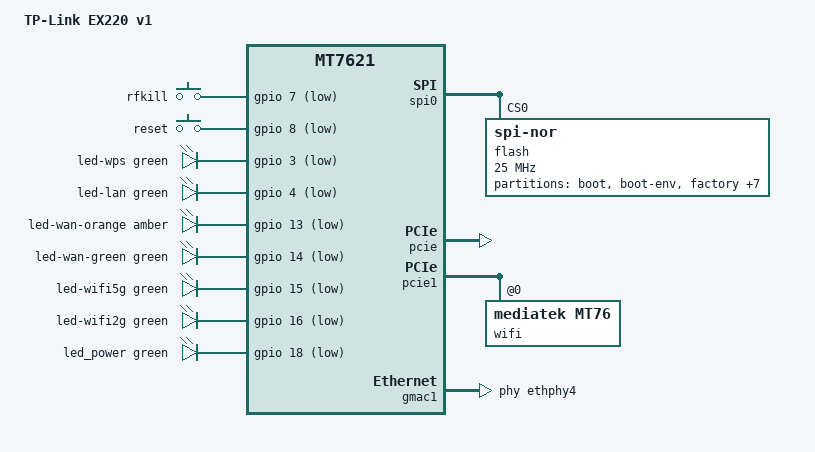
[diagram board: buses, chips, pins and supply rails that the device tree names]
// SPDX-License-Identifier: GPL-2.0-or-later OR MIT

#include "mt7621.dtsi"

#include <dt-bindings/gpio/gpio.h>
#include <dt-bindings/input/input.h>
#include <dt-bindings/leds/common.h>

/ {
	compatible = "tplink,ex220-v1", "mediatek,mt7621-soc";
	model = "TP-Link EX220 v1";

	aliases {
		led-boot = &led_power;
		led-failsafe = &led_power;
		led-running = &led_power;
		led-upgrade = &led_power;
		label-mac-device = &gmac0;
	};

	chosen {
		bootargs = "console=ttyS0,115200";
	};

	keys {
		compatible = "gpio-keys";

		button-wps {
			label = "rfkill";
			gpios = <&gpio 7 GPIO_ACTIVE_LOW>;
			linux,code = <KEY_RFKILL>;
		};

		button-reset {
			label = "reset";
			gpios = <&gpio 8 GPIO_ACTIVE_LOW>;
			linux,code = <KEY_RESTART>;
		};
	};

	leds {
		compatible = "gpio-leds";

		led-wps {
			color = <LED_COLOR_ID_GREEN>;
			function = LED_FUNCTION_WPS;
			gpios = <&gpio 3 GPIO_ACTIVE_LOW>;
		};

		led-lan {
			color = <LED_COLOR_ID_GREEN>;
			function = LED_FUNCTION_LAN;
			gpios = <&gpio 4 GPIO_ACTIVE_LOW>;
		};

		led-wan-orange {
			color = <LED_COLOR_ID_AMBER>;
			function = LED_FUNCTION_WAN;
			gpios = <&gpio 13 GPIO_ACTIVE_LOW>;
		};

		led-wan-green {
			color = <LED_COLOR_ID_GREEN>;
			function = LED_FUNCTION_WAN;
			gpios = <&gpio 14 GPIO_ACTIVE_LOW>;
		};

		led-wifi5g {
			color = <LED_COLOR_ID_GREEN>;
			function = LED_FUNCTION_WLAN;
			function-enumerator = <5>;
			gpios = <&gpio 15 GPIO_ACTIVE_LOW>;
			linux,default-trigger = "phy1tpt";
		};

		led-wifi2g {
			color = <LED_COLOR_ID_GREEN>;
			function = LED_FUNCTION_WLAN;
			function-enumerator = <2>;
			gpios = <&gpio 16 GPIO_ACTIVE_LOW>;
			linux,default-trigger = "phy0tpt";
		};

		led_power: led-power {
			color = <LED_COLOR_ID_GREEN>;
			function = LED_FUNCTION_POWER;
			gpios = <&gpio 18 GPIO_ACTIVE_LOW>;
		};
	};
};

&spi0 {
	status = "okay";

	flash@0 {
		compatible = "jedec,spi-nor";
		reg = <0>;
		spi-max-frequency = <25000000>;

		partitions {
			compatible = "fixed-partitions";
			#address-cells = <1>;
			#size-cells = <1>;

			partition@0 {
				label = "boot";
				reg = <0x00 0x30000>;
				read-only;
			};

			partition@30000 {
				label = "boot-env";
				reg = <0x30000 0x10000>;
				read-only;
			};

			partition@40000 {
				label = "factory";
				reg = <0x40000 0x10000>;
				read-only;
			};

			partition@50000 {
				label = "config";
				reg = <0x50000 0x10000>;
				read-only;
			};

			partition@60000 {
				label = "isp_config";
				reg = <0x60000 0x10000>;
				read-only;
			};

			partition@70000 {
				label = "rom_file";
				reg = <0x70000 0x10000>;
				read-only;

				nvmem-layout {
					compatible = "fixed-layout";
					#address-cells = <1>;
					#size-cells = <1>;

					macaddr_rom_file_f100: macaddr@f100 {
						compatible = "mac-base";
						reg = <0xf100 0x6>;
						#nvmem-cell-cells = <1>;
					};
				};
			};

			partition@80000 {
				label = "cloud";
				reg = <0x80000 0x10000>;
				read-only;
			};

			partition@90000 {
				label = "radio";
				reg = <0x90000 0x20000>;
				read-only;

				nvmem-layout {
					compatible = "fixed-layout";
					#address-cells = <1>;
					#size-cells = <1>;

					eeprom_radio_0: eeprom@0 {
						reg = <0x0 0xe00>;
					};

					precal_radio_e10: precal@e10 {
						reg = <0xe10 0x19c10>;
					};
				};
			};

			partition@b0000 {
				label = "config_bak";
				reg = <0xb0000 0x10000>;
				read-only;
			};

			partition@c0000 {
				compatible = "denx,fit";
				label = "firmware";
				reg = <0xc0000 0xf30000>;
			};
		};
	};
};

&pcie {
	status = "okay";
};

&pcie1 {
	wifi@0,0 {
		compatible = "mediatek,mt76";
		reg = <0x0000 0 0 0 0>;
		nvmem-cells = <&eeprom_radio_0>, <&precal_radio_e10>, <&macaddr_rom_file_f100 0>;
		nvmem-cell-names = "eeprom", "precal", "mac-address";
		mediatek,disable-radar-background;
	};
};

&gmac0 {
	nvmem-cells = <&macaddr_rom_file_f100 0>;
	nvmem-cell-names = "mac-address";
};

&gmac1 {
	status = "okay";
	label = "wan";
	phy-handle = <&ethphy4>;

	nvmem-cells = <&macaddr_rom_file_f100 1>;
	nvmem-cell-names = "mac-address";
};

&ethphy4 {
	/delete-property/ interrupts;
};

&switch0 {
	ports {
		port@0 {
			status = "okay";
			label = "lan1";
		};

		port@1 {
			status = "okay";
			label = "lan2";
		};

		port@2 {
			status = "okay";
			label = "lan3";
		};

		port@3 {
			status = "okay";
			label = "lan4";
		};
	};
};

&state_default {
	gpio {
		groups = "i2c", "uart3", "jtag", "wdt";
		function = "gpio";
	};
};
